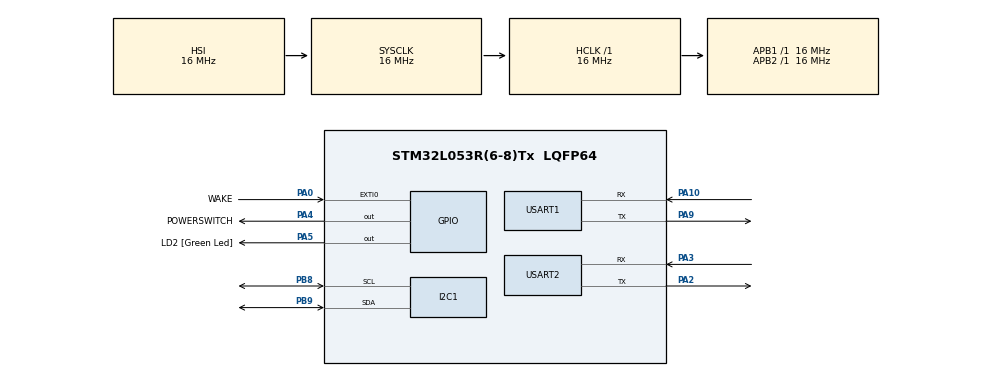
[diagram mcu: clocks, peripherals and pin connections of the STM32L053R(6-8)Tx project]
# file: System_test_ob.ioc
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I2C1.Timing=0x00503D58
Mcu.Family=STM32L0
Mcu.Name=STM32L053R(6-8)Tx
Mcu.Package=LQFP64
NVIC.EXTI0_1_IRQn=true\:0\:0\:false\:false\:true\:true\:true\:true
NVIC.USART2_IRQn=true\:0\:0\:false\:false\:true\:true\:true\:true
PA0.GPIO_Label=WAKE
PA0.GPIO_ModeDefaultEXTI=GPIO_MODE_IT_RISING_FALLING
PA0.Signal=GPXTI0
PA10.Mode=Asynchronous
PA10.Signal=USART1_RX
PA13.GPIO_Label=TMS
PA13.Mode=Serial_Wire
PA13.Signal=SYS_SWDIO
PA14.GPIO_Label=TCK
PA14.Mode=Serial_Wire
PA14.Signal=SYS_SWCLK
PA2.Mode=Asynchronous
PA2.Signal=USART2_TX
PA3.Mode=Asynchronous
PA3.Signal=USART2_RX
PA4.GPIO_Label=POWERSWITCH
PA4.GPIO_PuPd=GPIO_PULLDOWN
PA4.PinState=GPIO_PIN_SET
PA4.Signal=GPIO_Output
PA5.GPIO_Label=LD2 [Green Led]
PA5.GPIO_ModeDefaultOutputPP=GPIO_MODE_OUTPUT_PP
PA5.GPIO_PuPd=GPIO_NOPULL
PA5.GPIO_Speed=GPIO_SPEED_FREQ_LOW
PA5.PinState=GPIO_PIN_RESET
PA5.Signal=GPIO_Output
PA9.Mode=Asynchronous
PA9.Signal=USART1_TX
PB8.GPIO_Speed=GPIO_SPEED_FREQ_MEDIUM
PB8.Mode=I2C
PB8.Signal=I2C1_SCL
PB9.GPIO_Speed=GPIO_SPEED_FREQ_MEDIUM
PB9.Mode=I2C
PB9.Signal=I2C1_SDA
ProjectManager.HeapSize=0x200
ProjectManager.StackSize=0x400
ProjectManager.TargetToolchain=STM32CubeIDE
RCC.ADCFreq_Value=16000000
RCC.AHBFreq_Value=16000000
RCC.APB1Freq_Value=16000000
RCC.APB1TimFreq_Value=16000000
RCC.APB2Freq_Value=16000000
RCC.APB2TimFreq_Value=16000000
RCC.HCLKFreq_Value=16000000
RCC.HSE_VALUE=8000000
RCC.HSI16_VALUE=16000000
RCC.HSI48_VALUE=48000000
RCC.HSI_VALUE=16000000
RCC.LSE_VALUE=32768
RCC.MSI_VALUE=2097000
RCC.SYSCLKFreq_VALUE=16000000
RCC.SYSCLKSource=RCC_SYSCLKSOURCE_HSI
RCC.VCOOutputFreq_Value=48000000
USART1.VirtualMode-Asynchronous=VM_ASYNC
USART2.VirtualMode-Asynchronous=VM_ASYNC
board=NUCLEO-L053R8

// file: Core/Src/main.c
/* USER CODE BEGIN Header */
/**
  ******************************************************************************
  * @file           : main.c
  * @brief          : Event-triggered infrared temperature measurement.
  ******************************************************************************
  * @attention
  *
  * Copyright (c) 2026 STMicroelectronics.
  * All rights reserved.
  *
  * This software is licensed under terms that can be found in the LICENSE file
  * in the root directory of this software component.
  * If no LICENSE file comes with this software, it is provided AS-IS.
  *
  ******************************************************************************
  * Falling-edge wake starts a temperature-measurement window.
  * PA4 controls the external peripheral supply; USART2 carries debug logs
  * and USART1 carries temperature text for an external BLE module.
  *
  ******************************************************************************
  */
/* USER CODE END Header */
#include "main.h"
#include "i2c.h"
#include "usart.h"
#include "gpio.h"

/* USER CODE BEGIN Includes */
#include <stdio.h>
#include <string.h>
#include <stdint.h>
#include <mlx90614.h>
/* USER CODE END Includes */

/* USER CODE BEGIN PTD */
// State labels retained from the disabled legacy state machine below.
typedef enum {
    MODE_ARMED = 0,     // Legacy state: wait for a rising-edge trigger.
    MODE_ACTIVE,        // Legacy active state; the current measurement loop uses 10 s.
    MODE_WAIT_FALL      // Legacy state: wait for a falling edge before rearming.
} app_mode_t;

/* USER CODE END PTD */

/* USER CODE BEGIN PD */

volatile app_mode_t g_mode = MODE_ARMED;
volatile uint8_t g_exti_event = 0;   // Set by the EXTI callback when an interrupt occurs.
volatile uint16_t g_exti_pin = 0;    // Last triggering GPIO pin mask, retained for diagnostics.

/* USER CODE END PD */

void SystemClock_Config(void);
/* USER CODE BEGIN PFP */
static void EXTI_SetEdge_Rising(uint16_t pin);
static void EXTI_SetEdge_Falling(uint16_t pin);
static void EnterStop(void);
static void ActiveWindow_30s(void);
static void PowerSwitch_ForceLow(void);
static void BLE_UartPins_HiZ(void);
/* USER CODE END PFP */

/* USER CODE BEGIN 0 */

/**
 * @brief Redirect printf() output to the USART2 debug terminal.
 *
 * This allows using printf(...) for debug logs without additional wrapper
 * functions. The BLE string is sent separately using HAL_UART_Transmit on huart1.
 */
int _write(int file, char *ptr, int len)
{
    (void)file;
    HAL_UART_Transmit(&huart2, (uint8_t *)ptr, len, HAL_MAX_DELAY);
    return len;
}

/* USER CODE END 0 */

int main(void)
{

  /* MCU Configuration--------------------------------------------------------*/

  /* Reset of all peripherals, Initializes the Flash interface and the Systick. */
  HAL_Init();

  /* Configure the system clock */
  SystemClock_Config();

  /* Initialize all configured peripherals */
  MX_GPIO_Init();
  MX_USART2_UART_Init();
  MX_I2C1_Init();
  MX_USART1_UART_Init();
  /* USER CODE BEGIN 2 */
  // Select falling-edge wake; g_mode is retained for the legacy state machine.
  g_mode = MODE_ARMED;
  EXTI_SetEdge_Falling(WAKE_Pin);
  /* USER CODE END 2 */

  /* Infinite loop */
  while (1)
  {

    /* USER CODE BEGIN 3 */

// Disabled legacy control flow. The active loop below uses falling-edge wake.
//	if (g_mode == MODE_ARMED)
//	{
//	  // Enter STOP and wait for a rising-edge interrupt.
//	  EnterStop();
//
//	  // After an EXTI wake event, enter the legacy active state.
//	  if (g_exti_event) {
//		  g_exti_event = 0;
//		  g_mode = MODE_ACTIVE;
//	  }
//	}
//
//	else if (g_mode == MODE_ACTIVE)
//	{
//	  // Run the measurement helper; its current timeout is 10 s.
//	  ActiveWindow_30s();
//
//	  // After measurement, wait for the falling-edge release before rearming.
//	  g_mode = MODE_WAIT_FALL;
//	  EXTI_SetEdge_Falling(WAKE_Pin);
//	}
//
//	else if (g_mode == MODE_WAIT_FALL)
//	{
//	  // Enter STOP and wait for a falling-edge interrupt.
//	  EnterStop();
//
//	  if (g_exti_event) {
//		  g_exti_event = 0;
//
//		  // A falling edge indicates that the external signal returned low.
//		  // Rearm the rising edge and return to the legacy armed state.
//		  EXTI_SetEdge_Rising(WAKE_Pin);
//		  g_mode = MODE_ARMED;
//	  }
//	}

	  EnterStop();   // Enter STOP and wait for a falling-edge wake event.

	  if (g_exti_event) {
		  g_exti_event = 0;

		  // Accept the wake event only if PA0 is still low.
		  if (HAL_GPIO_ReadPin(WAKE_GPIO_Port, WAKE_Pin) == GPIO_PIN_RESET)
		  {
			  // Debounce: wait 10 ms, then confirm that PA0 remains low.
			  HAL_Delay(10);
			  if (HAL_GPIO_ReadPin(WAKE_GPIO_Port, WAKE_Pin) == GPIO_PIN_RESET)
			  {
				  ActiveWindow_30s();
			  }
		  }
	  }
  }

  /* USER CODE END 3 */
}

/**
  * @brief Select the 16 MHz HSI clock for the CPU and configured peripherals.
  * @retval None
  */
void SystemClock_Config(void)
{
  RCC_OscInitTypeDef RCC_OscInitStruct = {0};
  RCC_ClkInitTypeDef RCC_ClkInitStruct = {0};
  RCC_PeriphCLKInitTypeDef PeriphClkInit = {0};

  /** Configure the main internal regulator output voltage
  */
  __HAL_PWR_VOLTAGESCALING_CONFIG(PWR_REGULATOR_VOLTAGE_SCALE1);

  /** Initializes the RCC Oscillators according to the specified parameters
  * in the RCC_OscInitTypeDef structure.
  */
  RCC_OscInitStruct.OscillatorType = RCC_OSCILLATORTYPE_HSI;
  RCC_OscInitStruct.HSIState = RCC_HSI_ON;
  RCC_OscInitStruct.HSICalibrationValue = RCC_HSICALIBRATION_DEFAULT;
  RCC_OscInitStruct.PLL.PLLState = RCC_PLL_NONE;
  if (HAL_RCC_OscConfig(&RCC_OscInitStruct) != HAL_OK)
  {
    Error_Handler();
  }

  /** Initializes the CPU, AHB and APB buses clocks
  */
  RCC_ClkInitStruct.ClockType = RCC_CLOCKTYPE_HCLK|RCC_CLOCKTYPE_SYSCLK
                              |RCC_CLOCKTYPE_PCLK1|RCC_CLOCKTYPE_PCLK2;
  RCC_ClkInitStruct.SYSCLKSource = RCC_SYSCLKSOURCE_HSI;
  RCC_ClkInitStruct.AHBCLKDivider = RCC_SYSCLK_DIV1;
  RCC_ClkInitStruct.APB1CLKDivider = RCC_HCLK_DIV1;
  RCC_ClkInitStruct.APB2CLKDivider = RCC_HCLK_DIV1;

  if (HAL_RCC_ClockConfig(&RCC_ClkInitStruct, FLASH_LATENCY_0) != HAL_OK)
  {
    Error_Handler();
  }
  PeriphClkInit.PeriphClockSelection = RCC_PERIPHCLK_USART1|RCC_PERIPHCLK_USART2
                              |RCC_PERIPHCLK_I2C1;
  PeriphClkInit.Usart1ClockSelection = RCC_USART1CLKSOURCE_PCLK2;
  PeriphClkInit.Usart2ClockSelection = RCC_USART2CLKSOURCE_PCLK1;
  PeriphClkInit.I2c1ClockSelection = RCC_I2C1CLKSOURCE_PCLK1;
  if (HAL_RCCEx_PeriphCLKConfig(&PeriphClkInit) != HAL_OK)
  {
    Error_Handler();
  }
}

/* USER CODE BEGIN 4 */
/**
 * @brief Record an EXTI event for processing in the main loop.
 */
void HAL_GPIO_EXTI_Callback(uint16_t GPIO_Pin)
{
    // Keep this callback short; sensor reads and UART output run in the main loop.
    g_exti_event = 1;
    g_exti_pin = GPIO_Pin;
}

/**
 * @brief Select rising-edge EXTI for one GPIO pin (legacy helper).
 */
static void EXTI_SetEdge_Rising(uint16_t pin)
{
    uint32_t line = 0;
    // Convert the single GPIO_PIN_x bit mask to its EXTI line index.
    for (int i = 0; i < 16; i++) {
        if (pin == (1U << i)) { line = i; break; }
    }

    // Disable falling-edge detection and enable rising-edge detection.
    EXTI->FTSR &= ~(1U << line);
    EXTI->RTSR |=  (1U << line);

    // Clear a pending interrupt by writing one to its bit.
    EXTI->PR = (1U << line);
}

/**
 * @brief Select falling-edge EXTI for the active wake input.
 */
static void EXTI_SetEdge_Falling(uint16_t pin)
{
    uint32_t line = 0;
    for (int i = 0; i < 16; i++) {
        if (pin == (1U << i)) { line = i; break; }
    }

    // Disable rising-edge detection and enable falling-edge detection.
    EXTI->RTSR &= ~(1U << line);
    EXTI->FTSR |=  (1U << line);

    // Clear a pending interrupt by writing one to its bit.
    EXTI->PR = (1U << line);
}

/**
 * @brief Switch off the peripheral supply and wait in low-power STOP mode.
 * Execution continues after an interrupt; the clock is then restored.
 */
static void EnterStop(void)
{
	PowerSwitch_ForceLow();

    // Release the UART pins to reduce back-powering of the unpowered BLE module.
    BLE_UartPins_HiZ();

    // Suspend periodic tick interrupts around STOP entry and wake-up.
    HAL_SuspendTick();

    // Clear the software event flag before arming the next sleep.
    g_exti_event = 0;

    /* Clear a stale EXTI pending bit that could cause an immediate wake-up. */
    __HAL_GPIO_EXTI_CLEAR_IT(WAKE_Pin);

    /* Clear the power wake-up flag before entering STOP. */
    __HAL_PWR_CLEAR_FLAG(PWR_FLAG_WU);

    /* Complete register writes and synchronize execution before sleeping. */
    __DSB();
    __ISB();

    // Enter STOP with the low-power regulator and wait for an interrupt.
    HAL_PWR_EnterSTOPMode(PWR_LOWPOWERREGULATOR_ON, PWR_STOPENTRY_WFI);

    // Execution resumes here after wake-up.
    HAL_ResumeTick();

    // Restore the configured system clock after STOP.
    SystemClock_Config();

    // Reinitialize USART1. GPIO restoration still needs review: HAL_UART_Init()
    // only reruns MSP pin setup when the UART handle is in the RESET state.
    MX_USART1_UART_Init();
}

/**
 * @brief Power the peripherals, read temperatures, and submit UART telemetry.
 * @note The legacy name says 30 s; the loop currently uses a 10000 ms timeout.
 * The settling delay and sensor readiness check occur before that timeout.
 */
static void ActiveWindow_30s(void)
{
    // Enable the external sensor/BLE supply and allow 200 ms to settle.
    HAL_GPIO_WritePin(GPIOA, POWERSWITCH_Pin, GPIO_PIN_SET);
    HAL_Delay(200);

    printf("MLX90614 bring-up\r\n");
    if (MLX90614_Init(&hi2c1) != HAL_OK) {
        printf("MLX90614 not ready\r\n");
        // Continue with timed read attempts even if the readiness probe fails.
    } else {
        printf("MLX90614 ready\r\n");
    }

    // Start the measurement timer after peripheral power-up and initialization.
    uint32_t t0 = HAL_GetTick();

    while ((HAL_GetTick() - t0) < 10000U) {
        float Ta, To;

        if (MLX90614_ReadTaTo(&Ta, &To) == HAL_OK) {
            printf("Ta=%.2fC  To=%.2fC\r\n", Ta, To);

            // Format both temperatures as an ASCII line for the BLE module UART.
            char buf[64];
            snprintf(buf, sizeof(buf), "Ta=%.2f, To=%.2f\r\n", Ta, To);
            HAL_UART_Transmit(&huart1, (uint8_t*)buf, strlen(buf), 100);
        } else {
            printf("Read ERR\r\n");
        }

        // Space read attempts by 500 ms; I2C and UART operations add overhead.
        HAL_Delay(500);
    }

    // Disable the downstream supply at the end of the measurement window.
    HAL_GPIO_WritePin(GPIOA, POWERSWITCH_Pin, GPIO_PIN_RESET);
}

/**
 * @brief Hold the external peripheral power-switch control low before STOP.
 */
static void PowerSwitch_ForceLow(void)
{
    GPIO_InitTypeDef GPIO_InitStruct = {0};

    // Set the output latch low before configuring the GPIO to avoid a high pulse.
    HAL_GPIO_WritePin(GPIOA, POWERSWITCH_Pin, GPIO_PIN_RESET);

    // Keep PA4 actively driven low as a push-pull output.
    GPIO_InitStruct.Pin = POWERSWITCH_Pin;
    GPIO_InitStruct.Mode = GPIO_MODE_OUTPUT_PP;
    GPIO_InitStruct.Pull = GPIO_NOPULL;
    GPIO_InitStruct.Speed = GPIO_SPEED_FREQ_LOW;
    HAL_GPIO_Init(GPIOA, &GPIO_InitStruct);

    // Reassert the low level after GPIO initialization.
    HAL_GPIO_WritePin(GPIOA, POWERSWITCH_Pin, GPIO_PIN_RESET);
}

/**
 * @brief Disable USART1 and release PA9/PA10 while the BLE supply is off.
 */
static void BLE_UartPins_HiZ(void)
{
    GPIO_InitTypeDef GPIO_InitStruct = {0};

    // This project maps USART1 TX/RX to PA9/PA10.
    __HAL_RCC_GPIOA_CLK_ENABLE();

    // Disable USART1 before changing the pins away from their alternate function.
    __HAL_UART_DISABLE(&huart1);

    // Use analog mode with no pulls to release the pins and reduce leakage.
    GPIO_InitStruct.Pin  = GPIO_PIN_9 | GPIO_PIN_10;
    GPIO_InitStruct.Mode = GPIO_MODE_ANALOG;
    GPIO_InitStruct.Pull = GPIO_NOPULL;
    HAL_GPIO_Init(GPIOA, &GPIO_InitStruct);
}

/* USER CODE END 4 */

void Error_Handler(void)
{
  __disable_irq();
  while (1)
  {
  }
}
